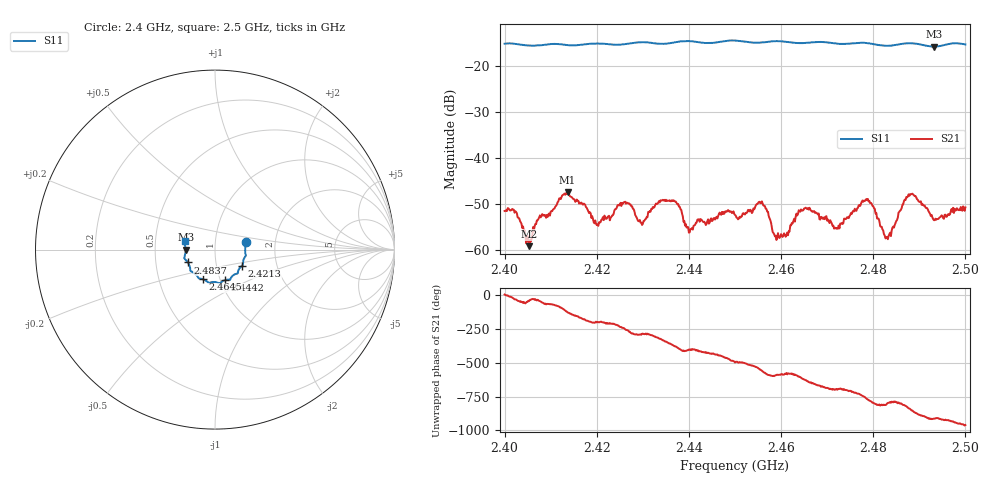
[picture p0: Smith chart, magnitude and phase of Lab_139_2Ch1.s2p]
# Hz S RI R 50
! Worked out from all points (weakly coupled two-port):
!   601 points, 2.4 GHz to 2.5 GHz, reference 50 ohm
!   highest |S21| = -47.55 dB at 2.4137 GHz (marker M1); lowest = -59.3 dB at 2.4053 GHz (marker M2)
!   lowest |S11| = -15.7 dB at 2.4932 GHz (marker M3), VSWR 1.39, Z = 36 - j0.0567 ohm
!   |S11| at or under -10 dB: start of sweep to end of sweep
!   S12 and S22 are empty: the file has one direction only
!   S11 on the Smith chart (normalised r, x): 2.4 GHz: 1.41, +0.12; 2.4213 GHz: 1.33, -0.25; 2.4442 GHz: 1.05, -0.37; 2.4645 GHz: 0.83, -0.29; 2.4837 GHz: 0.73, -0.11; 2.5 GHz: 0.71, +0.07
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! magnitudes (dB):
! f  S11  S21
! 2.4 GHz  -15.1  -51.6
! 2.4053 GHz  -15.5  -59.3
! 2.4137 GHz  -15.4  -47.5
! 2.4167 GHz  -15.3  -49.8
! 2.4213 GHz  -15.1  -52.9
! 2.4263 GHz  -15.2  -50.0
! 2.43 GHz  -14.8  -54.4
! 2.4333 GHz  -15.1  -49.8
! 2.44 GHz  -14.5  -56.3
! 2.4442 GHz  -15.0  -53.4
! 2.45 GHz  -14.4  -52.5
! 2.4557 GHz  -14.8  -49.8
! 2.4593 GHz  -14.5  -56.4
! 2.4645 GHz  -15.0  -51.5
! 2.4667 GHz  -14.8  -51.6
! 2.4722 GHz  -15.1  -55.3
! 2.4787 GHz  -15.0  -49.2
! 2.4833 GHz  -15.6  -57.0
! 2.4837 GHz  -15.5  -56.3
! 2.4882 GHz  -15.0  -48.0
! 2.4932 GHz  -15.7  -53.6
! 2.5 GHz  -15.2  -50.8
